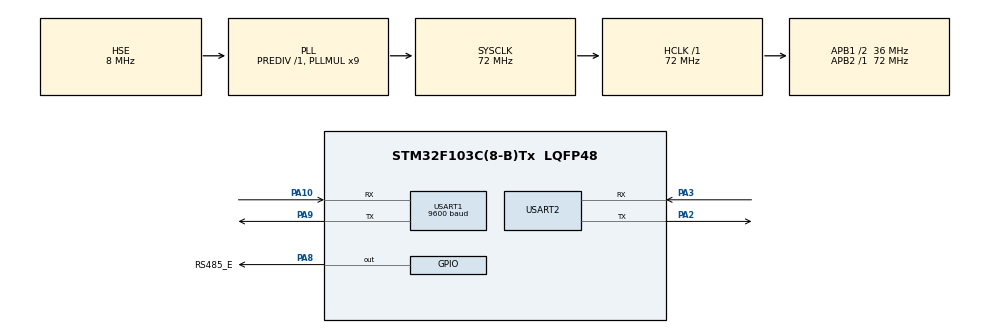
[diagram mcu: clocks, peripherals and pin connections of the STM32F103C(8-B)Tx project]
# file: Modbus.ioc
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Dma.Request0=USART1_RX
Dma.USART1_RX.0.Direction=DMA_PERIPH_TO_MEMORY
Dma.USART1_RX.0.Instance=DMA1_Channel5
Dma.USART1_RX.0.MemDataAlignment=DMA_MDATAALIGN_BYTE
Dma.USART1_RX.0.MemInc=DMA_MINC_ENABLE
Dma.USART1_RX.0.Mode=DMA_NORMAL
Dma.USART1_RX.0.PeriphDataAlignment=DMA_PDATAALIGN_BYTE
Dma.USART1_RX.0.PeriphInc=DMA_PINC_DISABLE
Dma.USART1_RX.0.Priority=DMA_PRIORITY_LOW
Mcu.Family=STM32F1
Mcu.Name=STM32F103C(8-B)Tx
Mcu.Package=LQFP48
NVIC.DMA1_Channel5_IRQn=true\:0\:0\:false\:false\:true\:false\:true\:true
NVIC.PriorityGroup=NVIC_PRIORITYGROUP_4
NVIC.USART1_IRQn=true\:0\:0\:false\:false\:true\:true\:true\:true
PA10.Mode=Asynchronous
PA10.Signal=USART1_RX
PA13.Mode=Serial_Wire
PA13.Signal=SYS_JTMS-SWDIO
PA14.Mode=Serial_Wire
PA14.Signal=SYS_JTCK-SWCLK
PA2.Mode=Asynchronous
PA2.Signal=USART2_TX
PA3.Mode=Asynchronous
PA3.Signal=USART2_RX
PA8.GPIO_Label=RS485_E
PA8.PinState=GPIO_PIN_SET
PA8.Signal=GPIO_Output
PA9.Mode=Asynchronous
PA9.Signal=USART1_TX
PD0-OSC_IN.Mode=HSE-External-Oscillator
PD0-OSC_IN.Signal=RCC_OSC_IN
PD1-OSC_OUT.Mode=HSE-External-Oscillator
PD1-OSC_OUT.Signal=RCC_OSC_OUT
ProjectManager.HeapSize=0x200
ProjectManager.StackSize=0x400
ProjectManager.TargetToolchain=MDK-ARM V5
RCC.AHBFreq_Value=72000000
RCC.APB1CLKDivider=RCC_HCLK_DIV2
RCC.APB1Freq_Value=36000000
RCC.APB1TimFreq_Value=72000000
RCC.APB2Freq_Value=72000000
RCC.APB2TimFreq_Value=72000000
RCC.HCLKFreq_Value=72000000
RCC.PLLMUL=RCC_PLL_MUL9
RCC.PLLSourceVirtual=RCC_PLLSOURCE_HSE
RCC.SYSCLKFreq_VALUE=72000000
RCC.SYSCLKSource=RCC_SYSCLKSOURCE_PLLCLK
RCC.USBFreq_Value=72000000
USART1.BaudRate=9600
USART1.VirtualMode=VM_ASYNC
USART2.VirtualMode=VM_ASYNC
board=custom

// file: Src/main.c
/* USER CODE BEGIN Header */
/**
  ******************************************************************************
  * @file           : main.c
  * @brief          : Main program body
  ******************************************************************************
  * @attention
  *
  * <h2><center>&copy; Copyright (c) 2019 STMicroelectronics.
  * All rights reserved.</center></h2>
  *
  * This software component is licensed by ST under BSD 3-Clause license,
  * the "License"; You may not use this file except in compliance with the
  * License. You may obtain a copy of the License at:
  *                        opensource.org/licenses/BSD-3-Clause
  *
  ******************************************************************************
  */
/* USER CODE END Header */
#include "main.h"
#include "dma.h"
#include "usart.h"
#include "gpio.h"

/* USER CODE BEGIN Includes */
#include "modbus_crc.h"
/* USER CODE END Includes */

void SystemClock_Config(void);

int main(void)
{
  /* USER CODE BEGIN 1 */
	uint8_t cmd[8] = {0,0,0,0,0,0,0,0};
	uint8_t buf[8] = {0,0,0,0,0,0,0,0};
	uint16_t output[8] = {5000,1000,5000,5000,5000,5000,5000,5000};
	uint16_t crc;
	uint8_t i;
  /* USER CODE END 1 */

  /* MCU Configuration--------------------------------------------------------*/

  /* Reset of all peripherals, Initializes the Flash interface and the Systick. */
  HAL_Init();

  /* Configure the system clock */
  SystemClock_Config();

  /* Initialize all configured peripherals */
  MX_GPIO_Init();
  MX_DMA_Init();
  MX_USART1_UART_Init();
  MX_USART2_UART_Init();
  /* USER CODE BEGIN 2 */
//	HAL_UART_Receive_DMA(&huart1, UsartType.RX_pData, RX_LEN);
//	__HAL_UART_ENABLE_IT(&huart1, UART_IT_IDLE);
	printf("*** Modbus RTU Analog Output Test Program ***\r\n");
  /* USER CODE END 2 */

  /* Infinite loop */
  while (1)
  {

    /* USER CODE BEGIN 3 */
		for(i=0;i<8;i++){
			cmd[0] = 0x01;
			cmd[1] = 0x06;
			cmd[2] = 0;
			cmd[3] = i;
			cmd[4] = output[i] >> 8;
			cmd[5] = output[i] & 0xFF;
			crc = ModbusCRC_CheckTable(cmd,6);
			cmd[6] = crc & 0xFF;
			cmd[7] = crc >> 8;
			HAL_GPIO_WritePin(GPIOA, GPIO_PIN_8, GPIO_PIN_SET);
			HAL_UART_Transmit(&huart1, cmd, 8, 10);
			HAL_GPIO_WritePin(GPIOA, GPIO_PIN_8, GPIO_PIN_RESET);
			HAL_UART_Receive(&huart1, buf, 8, 10);
			for(int i=0;i<8;i++)
			{
				printf("0x%02X ",buf[i]);
			}
			printf("\r\n");
			HAL_Delay(200);
		}
		printf("\r\n");
  }
  /* USER CODE END 3 */
}

void SystemClock_Config(void)
{
  RCC_OscInitTypeDef RCC_OscInitStruct = {0};
  RCC_ClkInitTypeDef RCC_ClkInitStruct = {0};

  /** Initializes the RCC Oscillators according to the specified parameters
  * in the RCC_OscInitTypeDef structure.
  */
  RCC_OscInitStruct.OscillatorType = RCC_OSCILLATORTYPE_HSE;
  RCC_OscInitStruct.HSEState = RCC_HSE_ON;
  RCC_OscInitStruct.HSEPredivValue = RCC_HSE_PREDIV_DIV1;
  RCC_OscInitStruct.HSIState = RCC_HSI_ON;
  RCC_OscInitStruct.PLL.PLLState = RCC_PLL_ON;
  RCC_OscInitStruct.PLL.PLLSource = RCC_PLLSOURCE_HSE;
  RCC_OscInitStruct.PLL.PLLMUL = RCC_PLL_MUL9;
  if (HAL_RCC_OscConfig(&RCC_OscInitStruct) != HAL_OK)
  {
    Error_Handler();
  }

  /** Initializes the CPU, AHB and APB buses clocks
  */
  RCC_ClkInitStruct.ClockType = RCC_CLOCKTYPE_HCLK|RCC_CLOCKTYPE_SYSCLK
                              |RCC_CLOCKTYPE_PCLK1|RCC_CLOCKTYPE_PCLK2;
  RCC_ClkInitStruct.SYSCLKSource = RCC_SYSCLKSOURCE_PLLCLK;
  RCC_ClkInitStruct.AHBCLKDivider = RCC_SYSCLK_DIV1;
  RCC_ClkInitStruct.APB1CLKDivider = RCC_HCLK_DIV2;
  RCC_ClkInitStruct.APB2CLKDivider = RCC_HCLK_DIV1;

  if (HAL_RCC_ClockConfig(&RCC_ClkInitStruct, FLASH_LATENCY_2) != HAL_OK)
  {
    Error_Handler();
  }
}

void Error_Handler(void)
{
}
